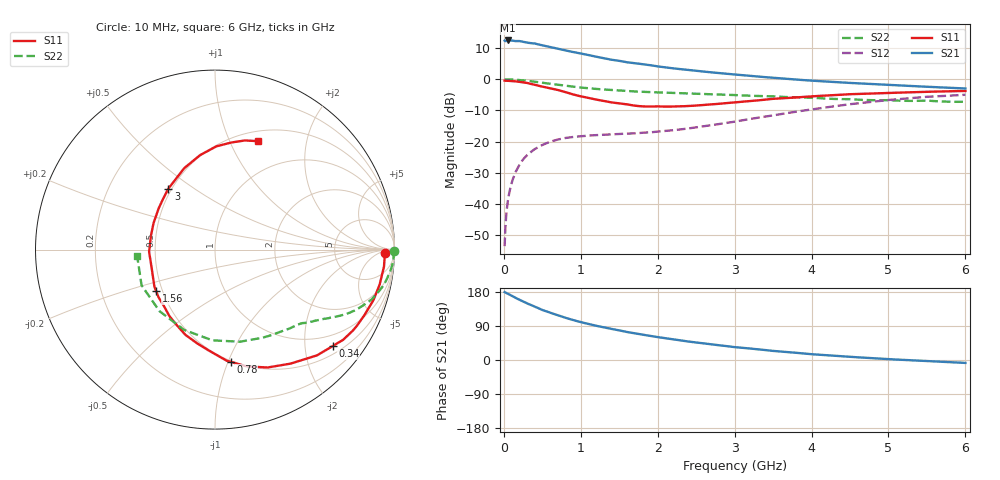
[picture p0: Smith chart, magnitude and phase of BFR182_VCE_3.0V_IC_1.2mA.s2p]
! Infineon Technologies  Discrete & RF Semiconductors
! BFR182
! VCE =  3.0 V,  IC =  1.2 mA
! Common Emitter S-Parameters:  Nov 2015
# GHz  S  MA  R  50
!  f  S11  S21  S12  S22
! GHz  MAG  ANG  MAG  ANG  MAG  ANG  MAG  ANG
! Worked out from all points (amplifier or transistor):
!   210 points, 10 MHz to 6 GHz, reference 50 ohm
!   highest |S21| = 12.4 dB at 50 MHz (marker M1)
!   |S21| within 3 dB of that: start of sweep to 758.8 MHz
!   unconditionally stable (mu >= 1): 1.682 GHz to 3.229 GHz
!   at 185 MHz: K = 0.14, MSG = 20.2 dB, |S12| = -28.2 dB
!   at 1.52 GHz: K = 0.92, MSG = 11.7 dB, |S12| = -17.5 dB
!   at 6 GHz: K = 0.93, MSG = 1.0 dB, |S12| = -5.0 dB
!   S11 on the Smith chart (normalised r, x): 10 MHz: 32, -14; 340 MHz: 0.69, -2.63; 780 MHz: 0.49, -1.02; 1.56 GHz: 0.46, -0.25; 3 GHz: 0.48, +0.40; 6 GHz: 0.61, +1.28
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0.01  0.9492 -1.3  4.166 179.2  0.0021 93.2  0.9977 -0.5
0.025  0.9461 -3.0  4.096 177.4  0.0052 87.8  0.9926 -1.3
0.05  0.9462 -5.8  4.19 175.0  0.0107 85.2  0.9961 -2.5
0.1  0.9378 -12.0  4.19 170.1  0.0213 82.8  0.9918 -4.9
0.15  0.9265 -17.7  4.097 164.2  0.0319 79.0  0.9825 -7.4
0.2  0.9092 -23.6  4.101 159.3  0.0417 75.5  0.9719 -9.6
0.34  0.8477 -39.4  3.809 146.3  0.0662 66.7  0.9334 -15.3
0.4  0.8189 -46.0  3.748 141.1  0.0755 63.1  0.9156 -17.7
0.5  0.762 -56.5  3.505 132.0  0.0882 58.4  0.8784 -21.0
0.7  0.6736 -74.9  3.088 118.1  0.1077 50.5  0.8167 -26.0
0.78  0.6314 -82.1  2.925 112.8  0.1129 47.8  0.7937 -27.5
0.9  0.5712 -92.1  2.736 105.2  0.1188 45.1  0.76 -29.7
1.02  0.5253 -102.3  2.558 99.0  0.1224 43.0  0.7319 -31.6
1.2  0.472 -116.8  2.298 90.3  0.1272 40.9  0.6994 -34.1
1.56  0.401 -145.0  1.914 75.7  0.1335 40.7  0.655 -38.4
2.02  0.3663 -179.5  1.596 59.8  0.1454 45.9  0.6143 -44.1
2.4  0.373 156.5  1.406 48.7  0.1625 51.0  0.5902 -50.1
3  0.4277 127.4  1.192 34.0  0.2086 55.9  0.5578 -61.7
3.1  0.436 123.7  1.162 32.2  0.2195 55.9  0.5504 -64.2
4.1  0.5404 96.8  0.933 14.0  0.3414 51.4  0.4962 -95.3
5.1  0.6084 79.9  0.803 1.2  0.4752 37.7  0.455 -136.4
6  0.649 68.6  0.711 -7.7  0.564 21.9  0.4353 -175.6
